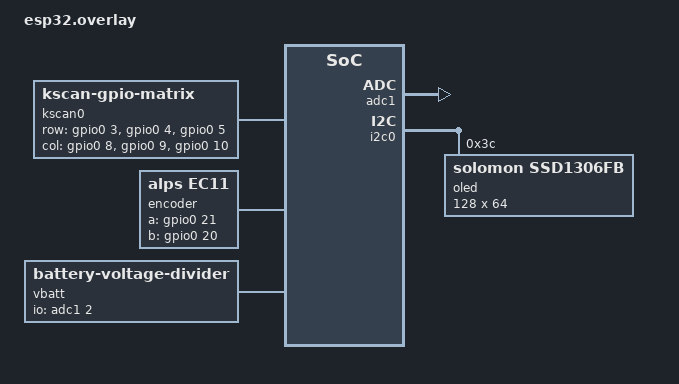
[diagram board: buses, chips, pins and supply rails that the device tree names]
/ {
    chosen {
        zmk,kscan = &kscan0;
        zmk,battery = &vbatt;
    };

    /* 3x3 Matrix */
    kscan0: kscan {
        compatible = "zmk,kscan-gpio-matrix";
        wakeup-source;
        row-gpios = <&gpio0 3 (GPIO_ACTIVE_HIGH | GPIO_PULL_DOWN)>,
                    <&gpio0 4 (GPIO_ACTIVE_HIGH | GPIO_PULL_DOWN)>,
                    <&gpio0 5 (GPIO_ACTIVE_HIGH | GPIO_PULL_DOWN)>;
        col-gpios = <&gpio0 8 GPIO_ACTIVE_HIGH>,
                    <&gpio0 9 GPIO_ACTIVE_HIGH>,
                    <&gpio0 10 GPIO_ACTIVE_HIGH>;
    };

    /* Rotary Encoder */
    encoder: encoder {
        compatible = "alps,ec11";
        a-gpios = <&gpio0 21 (GPIO_ACTIVE_HIGH | GPIO_PULL_UP)>;
        b-gpios = <&gpio0 20 (GPIO_ACTIVE_HIGH | GPIO_PULL_UP)>;
        steps = <80>;
    };

    sensors {
        compatible = "zmk,keymap-sensors";
        sensors = <&encoder>;
        triggers-per-rotation = <20>;
    };

    /* Battery Voltage Divider */
    vbatt: vbatt {
        compatible = "zmk,battery-voltage-divider";
        io-channels = <&adc1 2>;
        output-ohm = <1000000>;
        full-ohm = <2000000>;
    };
};

/* Enable ADC1 (ESP32-C3 uses adc1, not adc0) */
&adc1 {
    status = "okay";
};

/* OLED */
&i2c0 {
    status = "okay";

    oled: ssd1306@3c {
        compatible = "solomon,ssd1306fb";
        reg = <0x3c>;
        width = <128>;
        height = <64>;
        segment-offset = <0>;
        page-offset = <0>;
        display-offset = <0>;
        multiplex-ratio = <63>;
        segment-remap;
        com-invdir;
        prechargep = <0x22>;
    };
};
